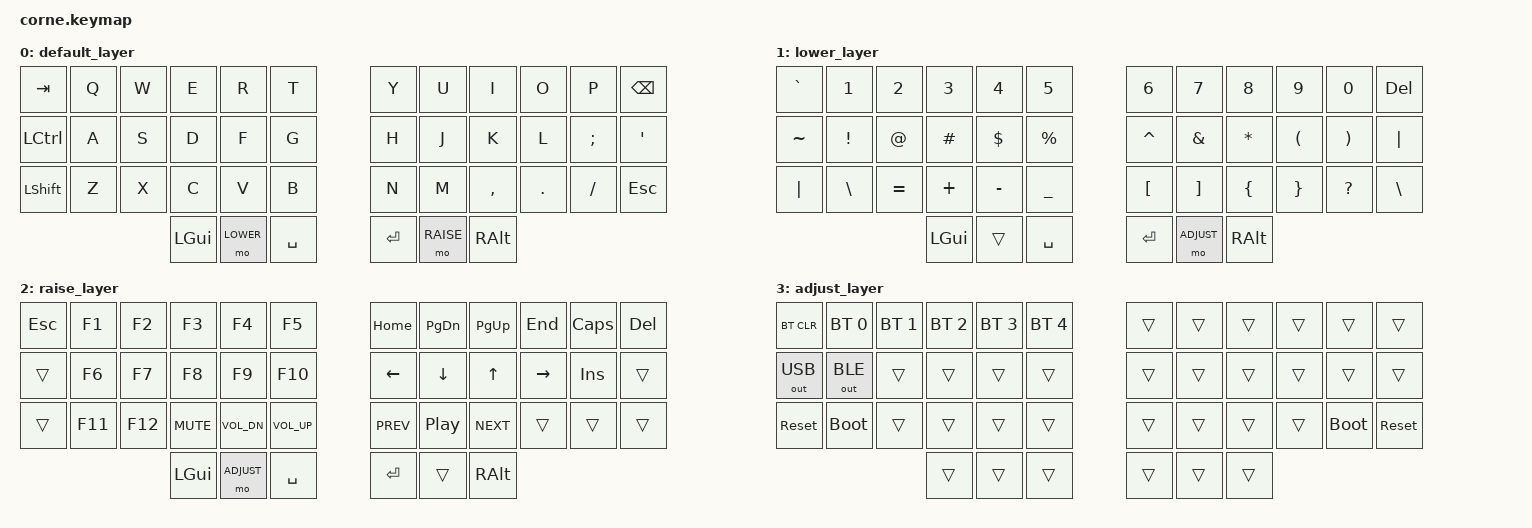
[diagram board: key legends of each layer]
/*
 * Copyright (c) 2020 The ZMK Contributors
 *
 * SPDX-License-Identifier: MIT
 *
 * Custom 4-layer keymap for Rishabh's Corne (writing-major + coding)
 *   0 BASE   - letters
 *   1 LOWER  - numbers + symbols        (hold left thumb)
 *   2 RAISE  - navigation + media + F   (hold right thumb)
 *   3 ADJUST - bluetooth + system       (hold LOWER + RAISE together)
 */

#include <behaviors.dtsi>
#include <dt-bindings/zmk/keys.h>
#include <dt-bindings/zmk/bt.h>
#include <dt-bindings/zmk/outputs.h>

#define BASE   0
#define LOWER  1
#define RAISE  2
#define ADJUST 3

/ {
        conditional_layers {
                compatible = "zmk,conditional-layers";
                tri_layer {
                        if-layers = <LOWER RAISE>;
                        then-layer = <ADJUST>;
                };
        };

        keymap {
                compatible = "zmk,keymap";

                default_layer {
// -----------------------------------------------------------------------------------------
// |  TAB |  Q  |  W  |  E  |  R  |  T  |   |  Y  |  U  |  I  |  O  |  P  | BSPC |
// | CTRL |  A  |  S  |  D  |  F  |  G  |   |  H  |  J  |  K  |  L  |  ;  |  '   |
// | SHFT |  Z  |  X  |  C  |  V  |  B  |   |  N  |  M  |  ,  |  .  |  /  | ESC  |
//                    | GUI | LWR | SPC |   | ENT | RSE | ALT |
                        bindings = <
   &kp TAB   &kp Q &kp W &kp E &kp R &kp T   &kp Y &kp U  &kp I     &kp O   &kp P    &kp BSPC
   &kp LCTRL &kp A &kp S &kp D &kp F &kp G   &kp H &kp J  &kp K     &kp L   &kp SEMI &kp SQT
   &kp LSHFT &kp Z &kp X &kp C &kp V &kp B   &kp N &kp M  &kp COMMA &kp DOT &kp FSLH &kp ESC
                  &kp LGUI &mo LOWER &kp SPACE   &kp RET &mo RAISE &kp RALT
                        >;
                };

                lower_layer {
// -----------------------------------------------------------------------------------------
// |  `  |  1  |  2  |  3  |  4  |  5  |   |  6  |  7  |  8  |  9  |  0  | DEL  |
// |  ~  |  !  |  @  |  #  |  $  |  %  |   |  ^  |  &  |  *  |  (  |  )  | "|"  |
// | "|" |  \  |  =  |  +  |  -  |  _  |   |  [  |  ]  |  {  |  }  |  ?  |  \   |
//                    | GUI |     | SPC |   | ENT | ADJ | ALT |
                        bindings = <
   &kp GRAVE &kp N1   &kp N2    &kp N3   &kp N4    &kp N5      &kp N6    &kp N7   &kp N8   &kp N9    &kp N0    &kp DEL
   &kp TILDE &kp EXCL &kp AT    &kp HASH &kp DLLR  &kp PRCNT   &kp CARET &kp AMPS &kp STAR &kp LPAR  &kp RPAR  &kp PIPE
   &kp PIPE  &kp BSLH &kp EQUAL &kp PLUS &kp MINUS &kp UNDER   &kp LBKT  &kp RBKT &kp LBRC &kp RBRC  &kp QMARK &kp BSLH
                             &kp LGUI &trans &kp SPACE   &kp RET &mo ADJUST &kp RALT
                        >;
                };

                raise_layer {
// -----------------------------------------------------------------------------------------
// | ESC  | F1  | F2  | F3  | F4  | F5  |   | HOME| PGDN| PGUP| END |CAPS | DEL  |
// |      | F6  | F7  | F8  | F9  | F10 |   | LFT | DWN |  UP | RGT | INS |      |
// |      | F11 | F12 | MUT | VD- | VU+ |   | PRV | PLY | NXT |     |     |      |
//                    | GUI | ADJ | SPC |   | ENT |     | ALT |
                        bindings = <
   &kp ESC &kp F1  &kp F2  &kp F3     &kp F4       &kp F5        &kp HOME   &kp PG_DN &kp PG_UP  &kp END   &kp CAPS &kp DEL
   &trans  &kp F6  &kp F7  &kp F8     &kp F9       &kp F10       &kp LEFT   &kp DOWN  &kp UP     &kp RIGHT &kp INS  &trans
   &trans  &kp F11 &kp F12 &kp C_MUTE &kp C_VOL_DN &kp C_VOL_UP  &kp C_PREV &kp C_PP  &kp C_NEXT &trans    &trans   &trans
                            &kp LGUI &mo ADJUST &kp SPACE   &kp RET &trans &kp RALT
                        >;
                };

                adjust_layer {
// -----------------------------------------------------------------------------------------
// |BTCLR| BT0 | BT1 | BT2 | BT3 | BT4 |   |     |     |     |     |     |      |
// | USB | BLE |     |     |     |     |   |     |     |     |     |     |      |
// |RESET|BOOT |     |     |     |     |   |     |     |     |     |BOOT |RESET |
//                    |     |     |     |   |     |     |     |
                        bindings = <
   &bt BT_CLR   &bt BT_SEL 0 &bt BT_SEL 1 &bt BT_SEL 2 &bt BT_SEL 3 &bt BT_SEL 4   &trans &trans &trans &trans &trans      &trans
   &out OUT_USB &out OUT_BLE &trans       &trans       &trans       &trans         &trans &trans &trans &trans &trans      &trans
   &sys_reset   &bootloader  &trans       &trans       &trans       &trans         &trans &trans &trans &trans &bootloader &sys_reset
                                          &trans &trans &trans   &trans &trans &trans
                        >;
                };
        };
};
